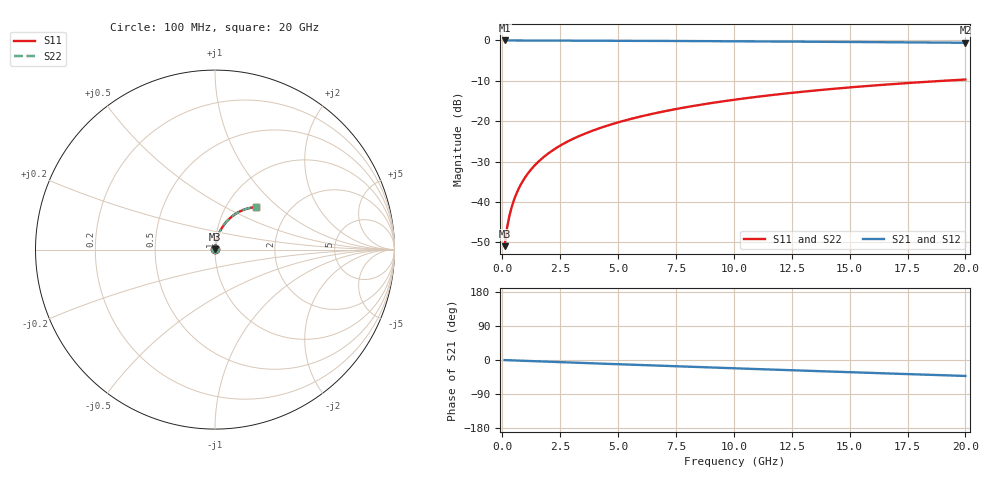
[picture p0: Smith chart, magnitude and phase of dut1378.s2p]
! Touchstone file exported from HFSS 2026.1.0
!  File:  C:/ffzhzh/LocalFiles/Ansys_Project_Files/temp_train_BSMRDL_1378_1783179483_18472.aedt
!  Generated:  11:39:22 PM Jul  4, 2026
!  Design:  BSMRDL
!  Project:  temp_train_BSMRDL_1378_1783179483_18472
! Variables:
!  h_bsmrdl = 5.83um
!  h_ox = 20um
!  h_rdl = 5um
!  h_sub = 80um
!  h_tmrdl = 5um
!  h_tsv = 80um
!  h_via = 3um
!  l_bsmrdl = 653.74um
!  l_sub = 1053.74um
!  l_tmrdl = 200um
!  m_sub = 200um
!  pitch = 49.95um
!  r_tsv = 6um
!  s_tmrdl = 10um
!  w_bsmrdl = 25.5um
!  w_sub = 500um
!  w_tmrdl = 12um
!  x_tsv_center1 = 206um
!  x_tsv_center2 = 885.24um
!  x_tsv_center3 = 1097.24um
!  x_tsv_center4 = 1776.48um
!  x_tsv_center5 = 1988.48um
!  x_tsv_center6 = 2667.72um
# GHz S MA R 50.000000
! Terminal data exported
! Port[1] = BSM_RDL1_1_T1
! Port[2] = BSM_RDL1_1_T2
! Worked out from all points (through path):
!   200 points, 100 MHz to 20 GHz, reference 50 ohm
!   highest |S21| = -0.02 dB at 100 MHz (marker M1); lowest = -0.6 dB at 20 GHz (marker M2)
!   group delay of S21, straight-line fit = 5.84 ps
!   lowest |S11| = -51.0 dB at 100 MHz (marker M3), VSWR 1.01, Z = 50.2 + j0.222 ohm
!   |S11| at or under -10 dB: start of sweep to 19.06 GHz
!   |S22| runs from -51.0 to -9.7 dB; largest |S21 - S12| = 2.7e-15
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0.1  0.002827 51.4  0.9982 -0.2  0.9982 -0.2  0.002827 51.4
! Gamma 0 0 0 0
! Port Impedance 50 0 50 0
0.2  0.004675 65.5  0.9981 -0.5  0.9981 -0.5  0.004675 65.5
0.3  0.006578 71.6  0.998 -0.7  0.998 -0.7  0.006577 71.6
0.4  0.008511 75.0  0.9979 -0.9  0.9979 -0.9  0.008511 75.1
0.5  0.01047 77.2  0.9978 -1.1  0.9978 -1.1  0.01047 77.2
0.7  0.01442 79.6  0.9977 -1.6  0.9977 -1.6  0.01442 79.6
0.8  0.0164 80.3  0.9976 -1.8  0.9976 -1.8  0.0164 80.3
1  0.02038 81.1  0.9974 -2.3  0.9974 -2.3  0.02038 81.1
1.2  0.02435 81.4  0.9972 -2.7  0.9972 -2.7  0.02435 81.4
1.4  0.02831 81.5  0.997 -3.2  0.997 -3.2  0.02831 81.5
1.7  0.03421 81.4  0.9966 -3.9  0.9966 -3.9  0.03421 81.4
2  0.04008 81.0  0.9961 -4.5  0.9961 -4.5  0.04008 81.1
2.7  0.05358 80.0  0.9949 -6.1  0.9949 -6.1  0.05358 80.0
3.5  0.06874 78.5  0.9933 -7.8  0.9933 -7.8  0.06874 78.6
4.2  0.08179 77.2  0.9918 -9.4  0.9918 -9.4  0.08179 77.2
5  0.0965 75.7  0.99 -11.1  0.99 -11.1  0.0965 75.7
6.8  0.1289 72.1  0.9853 -15.0  0.9853 -15.0  0.1289 72.2
8.3  0.1551 69.2  0.9809 -18.2  0.9809 -18.2  0.1551 69.2
10.1  0.1855 65.6  0.975 -22.0  0.975 -22.0  0.1855 65.6
13.4  0.2379 59.0  0.9627 -28.9  0.9627 -28.9  0.2378 59.1
16.7  0.2854 52.5  0.9491 -35.6  0.9491 -35.6  0.2854 52.6
20  0.3277 46.2  0.935 -42.1  0.935 -42.1  0.3277 46.3
